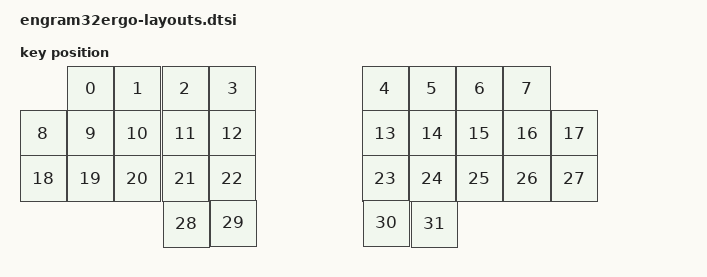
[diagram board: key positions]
#include <physical_layouts.dtsi>

/ {
    default_layout: physical_layout_0 {
        compatible = "zmk,physical-layout";
        display-name = "Default Layout";
        transform = <&default_transform>;

        keys
            = <&key_physical_attrs 100 100 95 0 0 0 0>
            , <&key_physical_attrs 100 100 189 0 0 0 0>
            , <&key_physical_attrs 100 100 284 0 0 0 0>
            , <&key_physical_attrs 100 100 379 0 0 0 0>
            , <&key_physical_attrs 100 100 684 0 0 0 0>
            , <&key_physical_attrs 100 100 779 0 0 0 0>
            , <&key_physical_attrs 100 100 873 0 0 0 0>
            , <&key_physical_attrs 100 100 968 0 0 0 0>
            , <&key_physical_attrs 100 100 0 89 0 0 0>
            , <&key_physical_attrs 100 100 95 89 0 0 0>
            , <&key_physical_attrs 100 100 189 89 0 0 0>
            , <&key_physical_attrs 100 100 284 89 0 0 0>
            , <&key_physical_attrs 100 100 379 89 0 0 0>
            , <&key_physical_attrs 100 100 684 89 0 0 0>
            , <&key_physical_attrs 100 100 779 89 0 0 0>
            , <&key_physical_attrs 100 100 873 89 0 0 0>
            , <&key_physical_attrs 100 100 968 89 0 0 0>
            , <&key_physical_attrs 100 100 1063 89 0 0 0>
            , <&key_physical_attrs 100 100 0 179 0 0 0>
            , <&key_physical_attrs 100 100 95 179 0 0 0>
            , <&key_physical_attrs 100 100 189 179 0 0 0>
            , <&key_physical_attrs 100 100 284 179 0 0 0>
            , <&key_physical_attrs 100 100 379 179 0 0 0>
            , <&key_physical_attrs 100 100 684 179 0 0 0>
            , <&key_physical_attrs 100 100 779 179 0 0 0>
            , <&key_physical_attrs 100 100 873 179 0 0 0>
            , <&key_physical_attrs 100 100 968 179 0 0 0>
            , <&key_physical_attrs 100 100 1063 179 0 0 0>
            , <&key_physical_attrs 100 100 287 270 0 0 0>
            , <&key_physical_attrs 100 100 381 268 0 0 0>
            , <&key_physical_attrs 100 100 686 268 0 0 0>
            , <&key_physical_attrs 100 100 782 270 0 0 0>
            ;
    };
};
